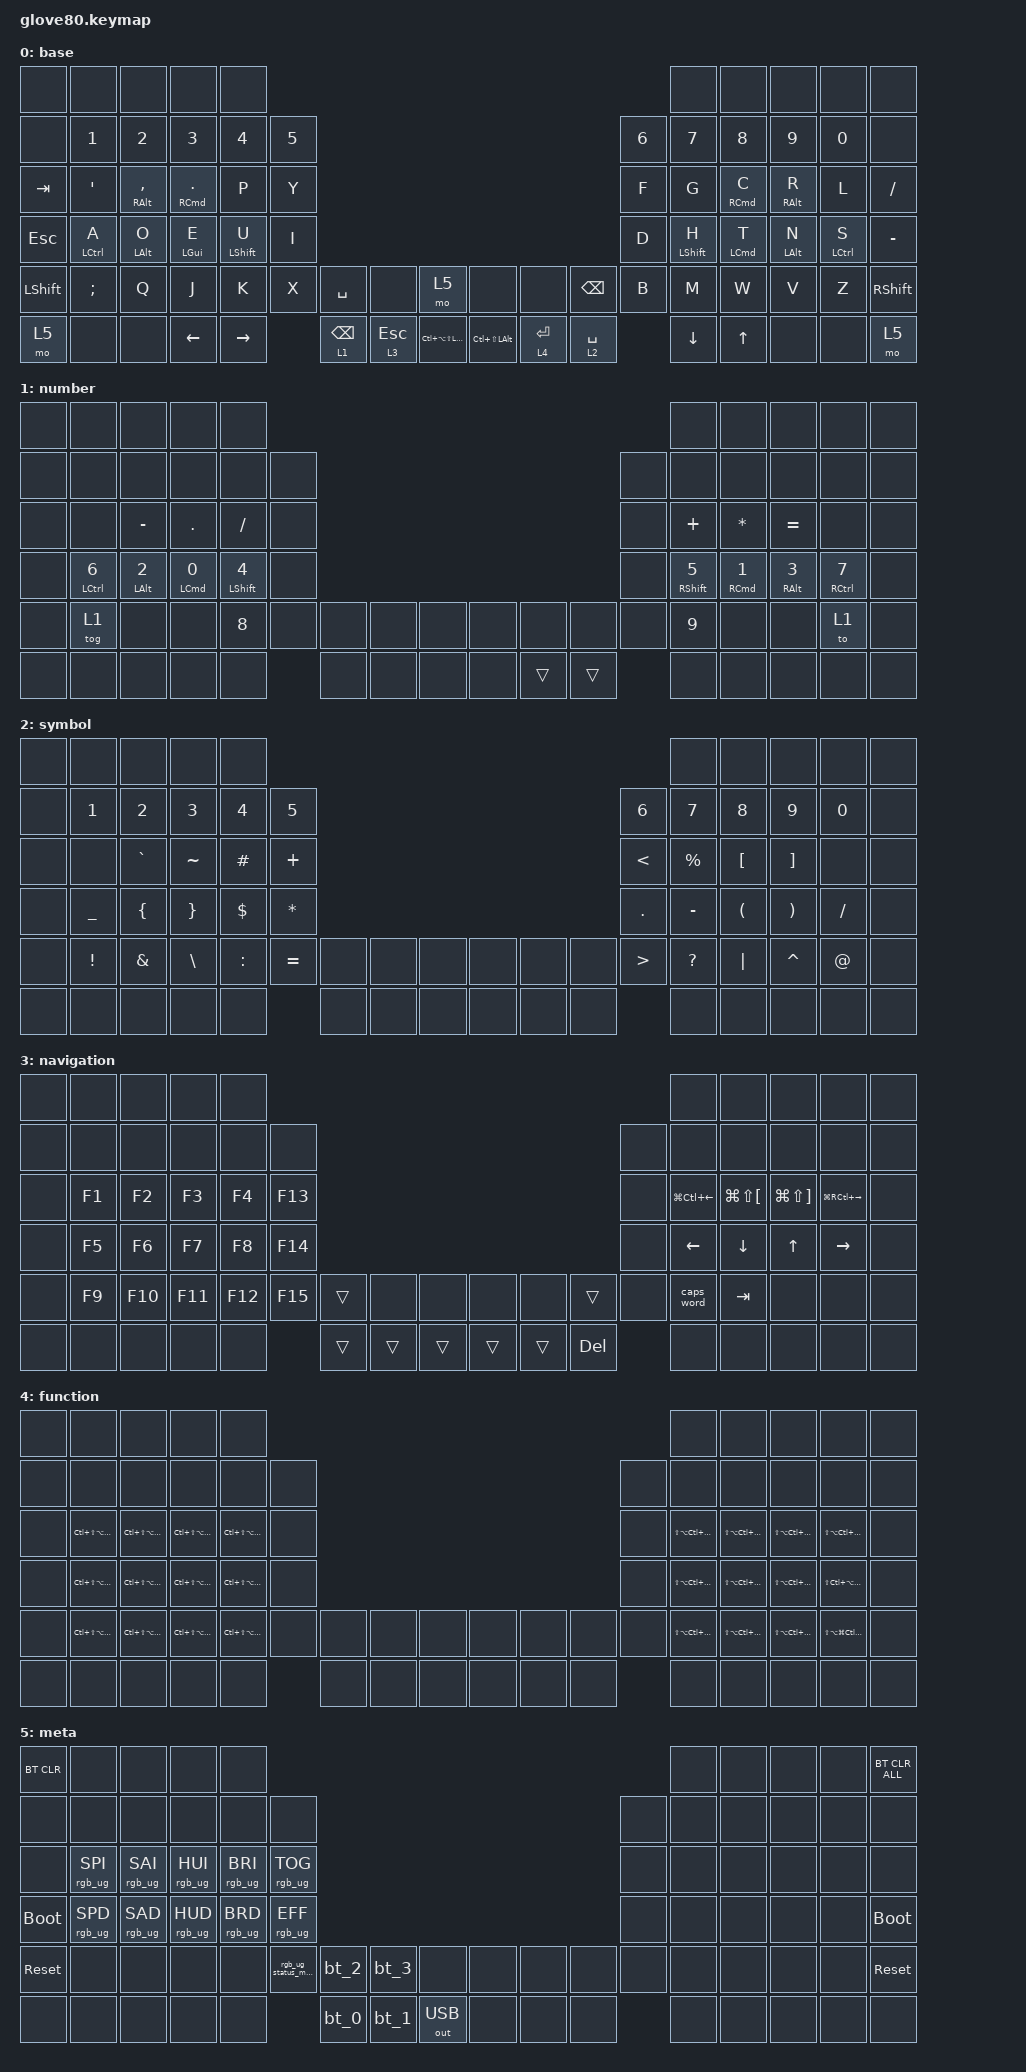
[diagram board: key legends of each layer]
#include <behaviors.dtsi>
#include <dt-bindings/zmk/bt.h>
#include <dt-bindings/zmk/keys.h>
#include <dt-bindings/zmk/outputs.h>
#include <dt-bindings/zmk/rgb.h>

&lt { flavor = "balanced"; };

/ {
    macros {
        bt_0: bt_profile_macro_0 {
            compatible = "zmk,behavior-macro";
            #binding-cells = <0>;
            bindings = <&out OUT_BLE &bt BT_SEL 0>;
        };

        bt_1: bt_profile_macro_1 {
            compatible = "zmk,behavior-macro";
            #binding-cells = <0>;
            bindings = <&out OUT_BLE &bt BT_SEL 1>;
        };

        bt_2: bt_profile_macro_2 {
            compatible = "zmk,behavior-macro";
            #binding-cells = <0>;
            bindings = <&out OUT_BLE &bt BT_SEL 2>;
        };

        bt_3: bt_profile_macro_3 {
            compatible = "zmk,behavior-macro";
            #binding-cells = <0>;
            bindings = <&out OUT_BLE &bt BT_SEL 3>;
        };

        rgb_ug_status_macro: rgb_ug_status_macro {
            label = "RGB_UG_STATUS";
            compatible = "zmk,behavior-macro";
            #binding-cells = <0>;
            bindings = <&rgb_ug RGB_STATUS>;
        };
    };

    behaviors {
        hrml: homerow_mod_left {
            compatible = "zmk,behavior-hold-tap";
            #binding-cells = <2>;
            flavor = "balanced";
            tapping-term-ms = <200>;
            quick-tap-ms = <100>;
            bindings = <&kp>, <&kp>;

            require-prior-idle-ms = <150>;
            hold-trigger-key-positions = <5 6 7 8 9 16 17 18 19 20 21 28 29 30 31 32 33 40 41 42 43 44 45 56 57 58 59 60 61 62 63 72 73 74 75 76 77 78 79 55>;
            hold-trigger-on-release;
        };

        hrmr: homerow_mod_right {
            compatible = "zmk,behavior-hold-tap";
            #binding-cells = <2>;
            flavor = "balanced";
            tapping-term-ms = <200>;
            quick-tap-ms = <100>;
            bindings = <&kp>, <&kp>;

            require-prior-idle-ms = <100>;
            hold-trigger-key-positions = <0 1 2 3 4 10 11 12 13 14 15 22 23 24 25 26 27 34 35 36 37 38 39 46 47 48 49 50 51 52 53 54 64 65 66 67 68 69 70 71>;
            hold-trigger-on-release;
        };

        hrml_tap: hrml_tap {
            compatible = "zmk,behavior-hold-tap";
            #binding-cells = <2>;
            flavor = "tap-preferred";
            tapping-term-ms = <200>;
            quick-tap-ms = <100>;
            bindings = <&kp>, <&kp>;

            require-prior-idle-ms = <150>;
            hold-trigger-key-positions = <5 6 7 8 9 16 17 18 19 20 21 28 29 30 31 32 33 40 41 42 43 44 45 56 57 58 59 60 61 62 63 72 73 74 75 76 77 78 79 55>;
            hold-trigger-on-release;
            label = "HRML_TAP";
        };

        hrmr_tap: hrmr_tap {
            compatible = "zmk,behavior-hold-tap";
            #binding-cells = <2>;
            flavor = "tap-preferred";
            tapping-term-ms = <200>;
            quick-tap-ms = <100>;
            bindings = <&kp>, <&kp>;

            require-prior-idle-ms = <100>;
            hold-trigger-key-positions = <0 1 2 3 4 10 11 12 13 14 15 22 23 24 25 26 27 34 35 36 37 38 39 46 47 48 49 50 51 52 53 54 64 65 66 67 68 69 70 71>;
            hold-trigger-on-release;
            label = "HRMR_TAP";
        };
    };

    keymap {
        compatible = "zmk,keymap";

        base {
            bindings = <
&none      &none          &none             &none              &none                                                                                                                    &none          &none         &none         &none          &none
&none      &kp N1         &kp N2            &kp N3             &kp N4          &kp N5                                                                                           &kp N6  &kp N7         &kp N8        &kp N9        &kp N0         &none
&kp TAB    &kp SQT        &hrml RALT COMMA  &hrml RCMD PERIOD  &kp P           &kp Y                                                                                            &kp F   &kp G          &hrmr RCMD C  &hrmr RALT R  &kp L          &kp SLASH
&kp ESC    &hrml LCTRL A  &hrml LALT O      &hrml LGUI E       &hrml LSHIFT U  &kp I                                                                                            &kp D   &hrmr LSHFT H  &hrmr LCMD T  &hrmr LALT N  &hrmr LCTRL S  &kp MINUS
&kp LSHFT  &kp SEMI       &kp Q             &kp J              &kp K           &kp X   &kp SPACE   &none      &mo 5                 &none             &none      &kp BACKSPACE  &kp B   &kp M          &kp W         &kp V         &kp Z          &kp RSHFT
&mo 5      &none          &none             &kp LEFT           &kp RIGHT               &lt 1 BSPC  &lt 3 ESC  &kp LC(LA(LS(LGUI)))  &kp LC(LS(LALT))  &lt 4 RET  &lt 2 SPACE            &kp DOWN       &kp UP        &none         &none          &mo 5
            >;
        };

        number {
            bindings = <
&none  &none               &none              &none              &none                                                                         &none               &none              &none              &none               &none
&none  &none               &none              &none              &none               &none                                              &none  &none               &none              &none              &none               &none
&none  &none               &kp MINUS          &kp DOT            &kp FSLH            &none                                              &none  &kp PLUS            &kp STAR           &kp EQUAL          &none               &none
&none  &hrml_tap LCTRL N6  &hrml_tap LALT N2  &hrml_tap LCMD N0  &hrml_tap LSHFT N4  &none                                              &none  &hrmr_tap RSHFT N5  &hrmr_tap RCMD N1  &hrmr_tap RALT N3  &hrmr_tap RCTRL N7  &none
&none  &tog 1              &none              &none              &kp N8              &none  &none  &none  &none  &none  &none   &none   &none  &kp N9              &none              &none              &to 1               &none
&none  &none               &none              &none              &none                      &none  &none  &none  &none  &trans  &trans         &none               &none              &none              &none               &none
            >;
        };

        symbol {
            bindings = <
&none  &none           &none           &none            &none                                                                              &none      &none                 &none                  &none      &none
&none  &kp N1          &kp N2          &kp N3           &kp N4      &kp N5                                               &kp N6            &kp N7     &kp N8                &kp N9                 &kp N0     &none
&none  &none           &kp GRAVE       &kp TILDE        &kp HASH    &kp PLUS                                             &kp LESS_THAN     &kp PRCNT  &kp LBKT              &kp RBKT               &none      &none
&none  &kp UNDERSCORE  &kp LEFT_BRACE  &kp RIGHT_BRACE  &kp DOLLAR  &kp STAR                                             &kp DOT           &kp MINUS  &kp LEFT_PARENTHESIS  &kp RIGHT_PARENTHESIS  &kp SLASH  &none
&none  &kp EXCL        &kp AMPS        &kp BSLH         &kp COLON   &kp EQUAL  &none  &none  &none  &none  &none  &none  &kp GREATER_THAN  &kp QMARK  &kp PIPE              &kp CARET              &kp AT     &none
&none  &none           &none           &none            &none                  &none  &none  &none  &none  &none  &none                    &none      &none                 &none                  &none      &none
            >;
        };

        navigation {
            bindings = <
&none  &none   &none    &none    &none                                                                     &none             &none             &none             &none              &none
&none  &none   &none    &none    &none    &none                                                     &none  &none             &none             &none             &none              &none
&none  &kp F1  &kp F2   &kp F3   &kp F4   &kp F13                                                   &none  &kp LG(LC(LEFT))  &kp LG(LS(LBKT))  &kp LG(LS(RBKT))  &kp LG(RC(RIGHT))  &none
&none  &kp F5  &kp F6   &kp F7   &kp F8   &kp F14                                                   &none  &kp LEFT          &kp DOWN          &kp UP            &kp RIGHT          &none
&none  &kp F9  &kp F10  &kp F11  &kp F12  &kp F15  &trans  &none   &none   &none   &none   &trans   &none  &caps_word        &kp TAB           &none             &none              &none
&none  &none   &none    &none    &none             &trans  &trans  &trans  &trans  &trans  &kp DEL         &none             &none             &none             &none              &none
            >;
        };

        function {
            bindings = <
&none  &none                   &none                    &none                    &none                                                                            &none                    &none                    &none                    &none                    &none
&none  &none                   &none                    &none                    &none                    &none                                            &none  &none                    &none                    &none                    &none                    &none
&none  &kp LC(LS(LA(LG(F1))))  &kp LC(LS(LA(LG(F2))))   &kp LC(LS(LA(LG(F3))))   &kp LC(LS(LA(LG(F4))))   &none                                            &none  &kp LS(LA(LC(LG(F13))))  &kp LS(LA(LC(LG(F14))))  &kp LS(LA(LC(LG(F15))))  &kp LS(LA(LC(LG(F16))))  &none
&none  &kp LC(LS(LA(LG(F5))))  &kp LC(LS(LA(LG(F6))))   &kp LC(LS(LA(LG(F7))))   &kp LC(LS(LA(LG(F8))))   &none                                            &none  &kp LS(LA(LC(LG(F17))))  &kp LS(LA(LC(LG(F18))))  &kp LS(LA(LC(LG(F19))))  &kp LS(LC(LA(LG(F20))))  &none
&none  &kp LC(LS(LA(LG(F9))))  &kp LC(LS(LA(LG(F10))))  &kp LC(LS(LA(LG(F11))))  &kp LC(LS(LA(LG(F12))))  &none  &none  &none  &none  &none  &none  &none  &none  &kp LS(LA(LC(LG(F21))))  &kp LS(LA(LC(LG(F22))))  &kp LS(LA(LC(LG(F23))))  &kp LS(LA(LG(LC(F24))))  &none
&none  &none                   &none                    &none                    &none                           &none  &none  &none  &none  &none  &none         &none                    &none                    &none                    &none                    &none
            >;
        };

        meta {
            bindings = <
&bt BT_CLR   &none            &none            &none            &none                                                                                          &none  &none  &none  &none  &bt BT_CLR_ALL
&none        &none            &none            &none            &none            &none                                                                  &none  &none  &none  &none  &none  &none
&none        &rgb_ug RGB_SPI  &rgb_ug RGB_SAI  &rgb_ug RGB_HUI  &rgb_ug RGB_BRI  &rgb_ug RGB_TOG                                                        &none  &none  &none  &none  &none  &none
&bootloader  &rgb_ug RGB_SPD  &rgb_ug RGB_SAD  &rgb_ug RGB_HUD  &rgb_ug RGB_BRD  &rgb_ug RGB_EFF                                                        &none  &none  &none  &none  &none  &bootloader
&sys_reset   &none            &none            &none            &none            &rgb_ug_status_macro  &bt_2  &bt_3  &none         &none  &none  &none  &none  &none  &none  &none  &none  &sys_reset
&none        &none            &none            &none            &none                                  &bt_0  &bt_1  &out OUT_USB  &none  &none  &none         &none  &none  &none  &none  &none
            >;
        };
    };
};
